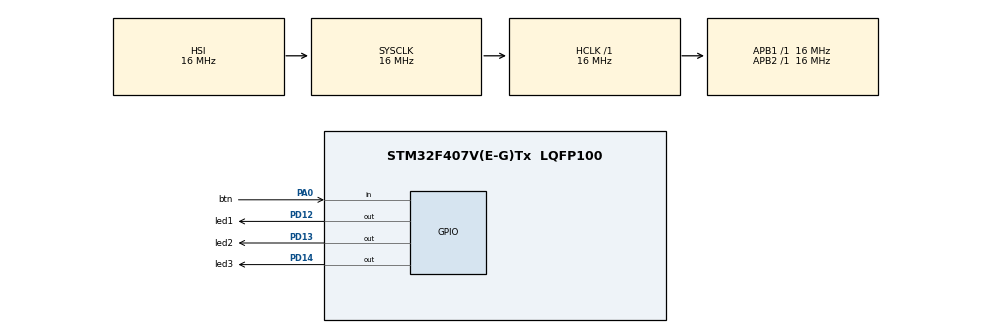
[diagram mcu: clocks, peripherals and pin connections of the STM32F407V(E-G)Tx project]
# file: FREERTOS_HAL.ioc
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FREERTOS.Mutexes01=myMutex01,Dynamic,NULL
FREERTOS.Tasks01=ctrl_led1,0,128,ctrl_led1_entry,Default,&ctrl_led1_instance,Dynamic,NULL,NULL;ctrl_led2,0,128,ctrl_led2_entry,Default,&ctrl_led2_instance,Dynamic,NULL,NULL;ctrl_led3,0,128,ctrl_led3_entry,Default,&ctrl_led3_instance,Dynamic,NULL,NULL
FREERTOS.configIDLE_SHOULD_YIELD=0
FREERTOS.configUSE_MUTEXES=1
FREERTOS.configUSE_NEWLIB_REENTRANT=1
FREERTOS.configUSE_PREEMPTION=1
Mcu.Family=STM32F4
Mcu.Name=STM32F407V(E-G)Tx
Mcu.Package=LQFP100
NVIC.PriorityGroup=NVIC_PRIORITYGROUP_4
NVIC.TIM1_UP_TIM10_IRQn=true\:15\:0\:false\:false\:true\:false\:false\:true\:true
NVIC.TimeBase=TIM1_UP_TIM10_IRQn
NVIC.TimeBaseIP=TIM1
PA0-WKUP.GPIO_Label=btn
PA0-WKUP.Signal=GPIO_Input
PA13.Mode=Serial_Wire
PA13.Signal=SYS_JTMS-SWDIO
PA14.Mode=Serial_Wire
PA14.Signal=SYS_JTCK-SWCLK
PD12.GPIO_Label=led1
PD12.Signal=GPIO_Output
PD13.GPIO_Label=led2
PD13.Signal=GPIO_Output
PD14.GPIO_Label=led3
PD14.Signal=GPIO_Output
ProjectManager.HeapSize=0x200
ProjectManager.StackSize=0x400
ProjectManager.TargetToolchain=STM32CubeIDE
RCC.AHBFreq_Value=16000000
RCC.APB1Freq_Value=16000000
RCC.APB2Freq_Value=16000000
RCC.CortexFreq_Value=16000000
RCC.HSE_VALUE=25000000
RCC.HSI_VALUE=16000000
RCC.LSE_VALUE=32768
RCC.SYSCLKFreq_VALUE=16000000
RCC.VCOOutputFreq_Value=192000000
VP_FREERTOS_VS_CMSIS_V1.Mode=CMSIS_V1
VP_SYS_VS_tim1.Mode=TIM1
board=custom

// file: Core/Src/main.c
/* USER CODE BEGIN Header */
/**
  ******************************************************************************
  * @file           : main.c
  * @brief          : STM32 works with FreeRTOS
  ******************************************************************************
  * @attention
  *
  * Copyright (c) 2024 STMicroelectronics.
  * All rights reserved.
  *
  * This software is licensed under terms that can be found in the LICENSE file
  * in the root directory of this software component.
  * If no LICENSE file comes with this software, it is provided AS-IS.
  *
  * 						REVISION HISTORY
  *	Version 1.0.0: Initial release
  *	Version 2.0.0: Use button to switch task and use Mutex to avoid accessing to resource at the same time
  ******************************************************************************
  */
/* USER CODE END Header */
#include "main.h"
#include "cmsis_os.h"

/* USER CODE BEGIN Includes */
#include <stdio.h>
/* USER CODE END Includes */

/* USER CODE BEGIN PTD */
typedef struct led_ctrl {
	uint32_t task;
	uint16_t led;
	uint16_t pin;
	GPIO_TypeDef *port;
} led_ctrl_t;
/* USER CODE END PTD */

osThreadId ctrl_led1Handle;
osThreadId ctrl_led2Handle;
osThreadId ctrl_led3Handle;
osMutexId myMutex01Handle;
/* USER CODE BEGIN PV */
led_ctrl_t ctrl_led1_instance = {
	1,
	1,
	led1_Pin,
	led1_GPIO_Port
};

led_ctrl_t ctrl_led2_instance = {
	2,
	2,
	led2_Pin,
	led2_GPIO_Port
};

led_ctrl_t ctrl_led3_instance = {
	3,
	3,
	led3_Pin,
	led3_GPIO_Port
};
/* USER CODE END PV */

void SystemClock_Config(void);
static void MX_GPIO_Init(void);
void ctrl_led1_entry(void const * argument);
void ctrl_led2_entry(void const * argument);
void ctrl_led3_entry(void const * argument);

/* USER CODE BEGIN PFP */
void handleTask(uint32_t task, uint16_t led, uint16_t pin, GPIO_TypeDef *port);
/* USER CODE END PFP */

/* USER CODE BEGIN 0 */
int _write(int file, char *ptr, int len) {
  for (int DataIdx = 0; DataIdx < len; DataIdx++)
    ITM_SendChar(*ptr++);
  return len;
}

void handleTask(uint32_t task, uint16_t led, uint16_t pin, GPIO_TypeDef *port)
{
	osMutexWait(myMutex01Handle, osWaitForever);

	printf("\nTask %ld starts\n", task);
	printf("LED %d ON\n", led);
	HAL_GPIO_WritePin(port, pin, 1);
	HAL_Delay(1000);

	printf("Waiting for pressed button\n");
	if (HAL_GPIO_ReadPin(btn_GPIO_Port, btn_Pin) == 0)
		while (HAL_GPIO_ReadPin(btn_GPIO_Port, btn_Pin) == 0);
	printf("Button is pressed\n");

	HAL_GPIO_WritePin(port, pin, 0);
	printf("LED %d OFF\n", led);
	printf("Task %ld finishes\n", task);

	osMutexRelease(myMutex01Handle);
	osDelay(200);
}
/* USER CODE END 0 */

int main(void)
{

  /* MCU Configuration--------------------------------------------------------*/

  /* Reset of all peripherals, Initializes the Flash interface and the Systick. */
  HAL_Init();

  /* Configure the system clock */
  SystemClock_Config();

  /* Initialize all configured peripherals */
  MX_GPIO_Init();

  /* Create the mutex(es) */
  /* definition and creation of myMutex01 */
  osMutexDef(myMutex01);
  myMutex01Handle = osMutexCreate(osMutex(myMutex01));

  /* Create the thread(s) */
  /* definition and creation of ctrl_led1 */
  osThreadDef(ctrl_led1, ctrl_led1_entry, osPriorityNormal, 0, 128);
  ctrl_led1Handle = osThreadCreate(osThread(ctrl_led1), (void*) &ctrl_led1_instance);

  /* definition and creation of ctrl_led2 */
  osThreadDef(ctrl_led2, ctrl_led2_entry, osPriorityNormal, 0, 128);
  ctrl_led2Handle = osThreadCreate(osThread(ctrl_led2), (void*) &ctrl_led2_instance);

  /* definition and creation of ctrl_led3 */
  osThreadDef(ctrl_led3, ctrl_led3_entry, osPriorityNormal, 0, 128);
  ctrl_led3Handle = osThreadCreate(osThread(ctrl_led3), (void*) &ctrl_led3_instance);

  /* Start scheduler */
  osKernelStart();

  /* We should never get here as control is now taken by the scheduler */
  /* Infinite loop */
  while (1)
  {

  }
}

void SystemClock_Config(void)
{
  RCC_OscInitTypeDef RCC_OscInitStruct = {0};
  RCC_ClkInitTypeDef RCC_ClkInitStruct = {0};

  /** Configure the main internal regulator output voltage
  */
  __HAL_RCC_PWR_CLK_ENABLE();
  __HAL_PWR_VOLTAGESCALING_CONFIG(PWR_REGULATOR_VOLTAGE_SCALE1);

  /** Initializes the RCC Oscillators according to the specified parameters
  * in the RCC_OscInitTypeDef structure.
  */
  RCC_OscInitStruct.OscillatorType = RCC_OSCILLATORTYPE_HSI;
  RCC_OscInitStruct.HSIState = RCC_HSI_ON;
  RCC_OscInitStruct.HSICalibrationValue = RCC_HSICALIBRATION_DEFAULT;
  RCC_OscInitStruct.PLL.PLLState = RCC_PLL_NONE;
  if (HAL_RCC_OscConfig(&RCC_OscInitStruct) != HAL_OK)
  {
    Error_Handler();
  }

  /** Initializes the CPU, AHB and APB buses clocks
  */
  RCC_ClkInitStruct.ClockType = RCC_CLOCKTYPE_HCLK|RCC_CLOCKTYPE_SYSCLK
                              |RCC_CLOCKTYPE_PCLK1|RCC_CLOCKTYPE_PCLK2;
  RCC_ClkInitStruct.SYSCLKSource = RCC_SYSCLKSOURCE_HSI;
  RCC_ClkInitStruct.AHBCLKDivider = RCC_SYSCLK_DIV1;
  RCC_ClkInitStruct.APB1CLKDivider = RCC_HCLK_DIV1;
  RCC_ClkInitStruct.APB2CLKDivider = RCC_HCLK_DIV1;

  if (HAL_RCC_ClockConfig(&RCC_ClkInitStruct, FLASH_LATENCY_0) != HAL_OK)
  {
    Error_Handler();
  }
}

static void MX_GPIO_Init(void)
{
  GPIO_InitTypeDef GPIO_InitStruct = {0};

  /* GPIO Ports Clock Enable */
  __HAL_RCC_GPIOA_CLK_ENABLE();
  __HAL_RCC_GPIOD_CLK_ENABLE();

  /*Configure GPIO pin Output Level */
  HAL_GPIO_WritePin(GPIOD, led1_Pin|led2_Pin|led3_Pin, GPIO_PIN_RESET);

  /*Configure GPIO pin : btn_Pin */
  GPIO_InitStruct.Pin = btn_Pin;
  GPIO_InitStruct.Mode = GPIO_MODE_INPUT;
  GPIO_InitStruct.Pull = GPIO_NOPULL;
  HAL_GPIO_Init(btn_GPIO_Port, &GPIO_InitStruct);

  /*Configure GPIO pins : led1_Pin led2_Pin led3_Pin */
  GPIO_InitStruct.Pin = led1_Pin|led2_Pin|led3_Pin;
  GPIO_InitStruct.Mode = GPIO_MODE_OUTPUT_PP;
  GPIO_InitStruct.Pull = GPIO_NOPULL;
  GPIO_InitStruct.Speed = GPIO_SPEED_FREQ_LOW;
  HAL_GPIO_Init(GPIOD, &GPIO_InitStruct);

}

void ctrl_led1_entry(void const * argument)
{
  /* USER CODE BEGIN 5 */
  /* Infinite loop */
  for(;;)
  {
	  led_ctrl_t *args = (led_ctrl_t *) argument;
	  handleTask(args->task, args->led, args->pin, args->port);
  }
  /* USER CODE END 5 */
}

void ctrl_led2_entry(void const * argument)
{
  /* USER CODE BEGIN ctrl_led2_entry */
  /* Infinite loop */
  for(;;)
  {
	  led_ctrl_t *args = (led_ctrl_t *) argument;
	  handleTask(args->task, args->led, args->pin, args->port);
  }
  /* USER CODE END ctrl_led2_entry */
}

void ctrl_led3_entry(void const * argument)
{
  /* USER CODE BEGIN ctrl_led3_entry */
  /* Infinite loop */
  for(;;)
  {
	  led_ctrl_t *args = (led_ctrl_t *) argument;
	  handleTask(args->task, args->led, args->pin, args->port);
  }
  /* USER CODE END ctrl_led3_entry */
}

void HAL_TIM_PeriodElapsedCallback(TIM_HandleTypeDef *htim)
{
  if (htim->Instance == TIM1) {
    HAL_IncTick();
  }
}

void Error_Handler(void)
{
  __disable_irq();
  while (1)
  {
  }
}
